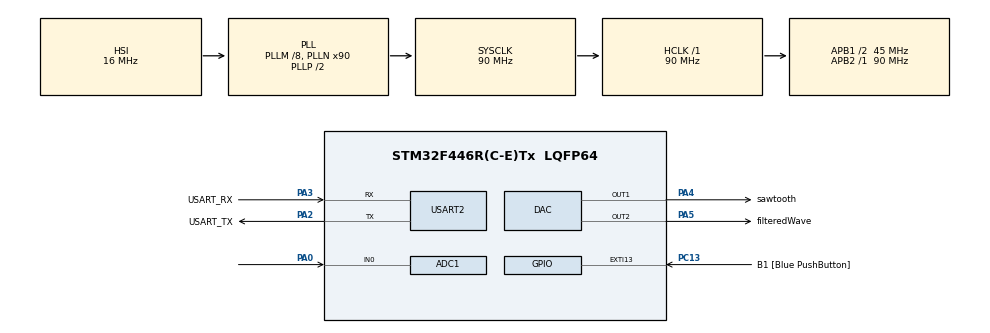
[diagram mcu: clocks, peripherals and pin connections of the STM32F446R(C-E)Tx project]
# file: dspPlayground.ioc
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ADC1.Channel-1\#ChannelRegularConversion=ADC_CHANNEL_0
ADC1.ContinuousConvMode=DISABLE
ADC1.DMAContinuousRequests=ENABLE
ADC1.ExternalTrigConv=ADC_EXTERNALTRIGCONV_T3_TRGO
ADC1.ExternalTrigConvEdge=ADC_EXTERNALTRIGCONVEDGE_RISING
ADC1.NbrOfConversion=1
ADC1.NbrOfConversionFlag=1
ADC1.Rank-1\#ChannelRegularConversion=1
ADC1.Resolution=ADC_RESOLUTION_8B
ADC1.SamplingTime-1\#ChannelRegularConversion=ADC_SAMPLETIME_15CYCLES
ADC1.master=1
DAC.DAC_Trigger=DAC_TRIGGER_NONE
Dma.ADC1.0.Direction=DMA_PERIPH_TO_MEMORY
Dma.ADC1.0.FIFOMode=DMA_FIFOMODE_DISABLE
Dma.ADC1.0.Instance=DMA2_Stream0
Dma.ADC1.0.MemDataAlignment=DMA_MDATAALIGN_BYTE
Dma.ADC1.0.MemInc=DMA_MINC_ENABLE
Dma.ADC1.0.Mode=DMA_CIRCULAR
Dma.ADC1.0.PeriphDataAlignment=DMA_PDATAALIGN_BYTE
Dma.ADC1.0.PeriphInc=DMA_PINC_DISABLE
Dma.ADC1.0.Priority=DMA_PRIORITY_LOW
Dma.Request0=ADC1
Mcu.Family=STM32F4
Mcu.Name=STM32F446R(C-E)Tx
Mcu.Package=LQFP64
NVIC.DMA2_Stream0_IRQn=true\:0\:0\:false\:false\:true\:false\:true\:true
NVIC.PriorityGroup=NVIC_PRIORITYGROUP_0
NVIC.TIM6_DAC_IRQn=true\:0\:0\:false\:false\:true\:true\:true\:true
NVIC.TIM8_UP_TIM13_IRQn=true\:0\:0\:false\:false\:true\:true\:true\:true
PA0-WKUP.Signal=ADCx_IN0
PA13.GPIO_Label=TMS
PA13.Mode=Serial_Wire
PA13.Signal=SYS_JTMS-SWDIO
PA14.GPIO_Label=TCK
PA14.Mode=Serial_Wire
PA14.Signal=SYS_JTCK-SWCLK
PA2.GPIO_Label=USART_TX
PA2.Mode=Asynchronous
PA2.Signal=USART2_TX
PA3.GPIO_Label=USART_RX
PA3.Mode=Asynchronous
PA3.Signal=USART2_RX
PA4.GPIO_Label=sawtooth
PA4.Signal=COMP_DAC1_group
PA5.GPIO_Label=filteredWave
PA5.Signal=COMP_DAC2_group
PB3.GPIO_Label=SWO
PB3.Signal=SYS_JTDO-SWO
PC13.GPIO_Label=B1 [Blue PushButton]
PC13.GPIO_ModeDefaultEXTI=GPIO_MODE_IT_FALLING
PC13.Signal=GPXTI13
PC14-OSC32_IN.Mode=LSE-External-Oscillator
PC14-OSC32_IN.Signal=RCC_OSC32_IN
PC15-OSC32_OUT.Mode=LSE-External-Oscillator
PC15-OSC32_OUT.Signal=RCC_OSC32_OUT
PH0-OSC_IN.Mode=HSE-External-Oscillator
PH0-OSC_IN.Signal=RCC_OSC_IN
PH1-OSC_OUT.Mode=HSE-External-Oscillator
PH1-OSC_OUT.Signal=RCC_OSC_OUT
ProjectManager.HeapSize=0x200
ProjectManager.StackSize=0x400
ProjectManager.TargetToolchain=STM32CubeIDE
RCC.48MHZClocksFreq_Value=84000000
RCC.AHBFreq_Value=90000000
RCC.APB1CLKDivider=RCC_HCLK_DIV2
RCC.APB1Freq_Value=45000000
RCC.APB1TimFreq_Value=90000000
RCC.APB2Freq_Value=90000000
RCC.APB2TimFreq_Value=90000000
RCC.CortexFreq_Value=90000000
RCC.FLatency-AdvancedSettings=FLASH_LATENCY_2
RCC.HCLKFreq_Value=90000000
RCC.HSE_VALUE=8000000
RCC.HSI_VALUE=16000000
RCC.PLLM=8
RCC.PLLN=90
RCC.SYSCLKFreq_VALUE=90000000
RCC.SYSCLKSource=RCC_SYSCLKSOURCE_PLLCLK
RCC.USBFreq_Value=90000000
RCC.VCOOutputFreq_Value=180000000
SH.ADCx_IN0.0=ADC1_IN0,IN0
SH.COMP_DAC1_group.0=DAC_OUT1,DAC_OUT1
SH.COMP_DAC2_group.0=DAC_OUT2,DAC_OUT2
TIM3.Period=(100-1)
TIM3.Prescaler=(45-1)
TIM3.TIM_MasterOutputTrigger=TIM_TRGO_UPDATE
TIM8.AutoReloadPreload=TIM_AUTORELOAD_PRELOAD_DISABLE
TIM8.Period=(17-1)
TIM8.Prescaler=(47-1)
TIM8.TIM_MasterOutputTrigger=TIM_TRGO_RESET
USART2.VirtualMode=VM_ASYNC
VP_TIM3_VS_ClockSourceINT.Mode=Internal
VP_TIM8_VS_ClockSourceINT.Mode=Internal
board=NUCLEO-F446RE

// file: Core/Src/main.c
/* USER CODE BEGIN Header */
/**
  ******************************************************************************
  * @file           : main.c
  * @brief          : Main program body
  ******************************************************************************
  * @attention
  *
  * Copyright (c) 2026 STMicroelectronics.
  * All rights reserved.
  *
  * This software is licensed under terms that can be found in the LICENSE file
  * in the root directory of this software component.
  * If no LICENSE file comes with this software, it is provided AS-IS.
  *
  ******************************************************************************
  */
/* USER CODE END Header */
#include "main.h"

/* USER CODE BEGIN Includes */
#define ARM_MATH_CM4
#include "arm_math.h"
/* USER CODE END Includes */

ADC_HandleTypeDef hadc1;
DMA_HandleTypeDef hdma_adc1;

DAC_HandleTypeDef hdac;

TIM_HandleTypeDef htim3;
TIM_HandleTypeDef htim8;

UART_HandleTypeDef huart2;

/* USER CODE BEGIN PV */
uint8_t sawtooth_value = 0, filteredWave_value = 0;
uint8_t adc_value;

float32_t x_n, y_n;
float32_t stateVariables[8];	//{x[n-1], x[n-2], y[n-1], y[n-2]} for each of the two stages
const float32_t coefficients[10] = {
		//first stage
		0.035606993293472465,	//b0
		-0.059435617389292664,	//b1
		0.03560699329347246,	//b2
		1.8610161687560092,		//a1
		-0.8704695751741188,	//a2
		//second stage
		0.250,					//b0
		-0.48237472261520914,	//b1
		0.25000000000000006,	//b2
		1.9353688387037393,		//a1
		-0.9584840240641256,	//a2
};
arm_biquad_casd_df1_inst_f32 filter;	//filter object. Is a struct that contains numStages, the stateVariables array and the coefficients
/* USER CODE END PV */

void SystemClock_Config(void);
static void MX_GPIO_Init(void);
static void MX_DMA_Init(void);
static void MX_USART2_UART_Init(void);
static void MX_DAC_Init(void);
static void MX_ADC1_Init(void);
static void MX_TIM8_Init(void);
static void MX_TIM3_Init(void);

int main(void)
{

  /* USER CODE BEGIN 1 */
	//initialize the filter as the model (two stages, defined coefficients)
	arm_biquad_cascade_df1_init_f32(&filter, 2, &coefficients, &stateVariables);
  /* USER CODE END 1 */

  /* MCU Configuration--------------------------------------------------------*/

  /* Reset of all peripherals, Initializes the Flash interface and the Systick. */
  HAL_Init();

  /* Configure the system clock */
  SystemClock_Config();

  /* Initialize all configured peripherals */
  MX_GPIO_Init();
  MX_DMA_Init();
  MX_USART2_UART_Init();
  MX_DAC_Init();
  MX_ADC1_Init();
  MX_TIM8_Init();
  MX_TIM3_Init();
  /* USER CODE BEGIN 2 */
  HAL_DAC_Start(&hdac, DAC_CHANNEL_1);	//start sawtooth wave channel (PA4)
  HAL_DAC_Start(&hdac, DAC_CHANNEL_2);	//start filtered wave channel (PA5)

  HAL_ADC_Start_DMA(&hadc1, (uint32_t*)&adc_value, 1);	//start ADC
  HAL_TIM_Base_Start(&htim3);							//start 2kHz ADC trigger timer

  HAL_TIM_Base_Start_IT(&htim8);	//TIM8 triggers a DAC update (sawtooth) at auto reload
  /* USER CODE END 2 */

  /* Infinite loop */
  while (1)
  {

  }
}

void SystemClock_Config(void)
{
  RCC_OscInitTypeDef RCC_OscInitStruct = {0};
  RCC_ClkInitTypeDef RCC_ClkInitStruct = {0};

  /** Configure the main internal regulator output voltage
  */
  __HAL_RCC_PWR_CLK_ENABLE();
  __HAL_PWR_VOLTAGESCALING_CONFIG(PWR_REGULATOR_VOLTAGE_SCALE3);

  /** Initializes the RCC Oscillators according to the specified parameters
  * in the RCC_OscInitTypeDef structure.
  */
  RCC_OscInitStruct.OscillatorType = RCC_OSCILLATORTYPE_HSI;
  RCC_OscInitStruct.HSIState = RCC_HSI_ON;
  RCC_OscInitStruct.HSICalibrationValue = RCC_HSICALIBRATION_DEFAULT;
  RCC_OscInitStruct.PLL.PLLState = RCC_PLL_ON;
  RCC_OscInitStruct.PLL.PLLSource = RCC_PLLSOURCE_HSI;
  RCC_OscInitStruct.PLL.PLLM = 8;
  RCC_OscInitStruct.PLL.PLLN = 90;
  RCC_OscInitStruct.PLL.PLLP = RCC_PLLP_DIV2;
  RCC_OscInitStruct.PLL.PLLQ = 2;
  RCC_OscInitStruct.PLL.PLLR = 2;
  if (HAL_RCC_OscConfig(&RCC_OscInitStruct) != HAL_OK)
  {
    Error_Handler();
  }

  /** Initializes the CPU, AHB and APB buses clocks
  */
  RCC_ClkInitStruct.ClockType = RCC_CLOCKTYPE_HCLK|RCC_CLOCKTYPE_SYSCLK
                              |RCC_CLOCKTYPE_PCLK1|RCC_CLOCKTYPE_PCLK2;
  RCC_ClkInitStruct.SYSCLKSource = RCC_SYSCLKSOURCE_PLLCLK;
  RCC_ClkInitStruct.AHBCLKDivider = RCC_SYSCLK_DIV1;
  RCC_ClkInitStruct.APB1CLKDivider = RCC_HCLK_DIV2;
  RCC_ClkInitStruct.APB2CLKDivider = RCC_HCLK_DIV1;

  if (HAL_RCC_ClockConfig(&RCC_ClkInitStruct, FLASH_LATENCY_2) != HAL_OK)
  {
    Error_Handler();
  }
}

static void MX_ADC1_Init(void)
{

  ADC_ChannelConfTypeDef sConfig = {0};

  /** Configure the global features of the ADC (Clock, Resolution, Data Alignment and number of conversion)
  */
  hadc1.Instance = ADC1;
  hadc1.Init.ClockPrescaler = ADC_CLOCK_SYNC_PCLK_DIV4;
  hadc1.Init.Resolution = ADC_RESOLUTION_8B;
  hadc1.Init.ScanConvMode = DISABLE;
  hadc1.Init.ContinuousConvMode = DISABLE;
  hadc1.Init.DiscontinuousConvMode = DISABLE;
  hadc1.Init.ExternalTrigConvEdge = ADC_EXTERNALTRIGCONVEDGE_RISING;
  hadc1.Init.ExternalTrigConv = ADC_EXTERNALTRIGCONV_T3_TRGO;
  hadc1.Init.DataAlign = ADC_DATAALIGN_RIGHT;
  hadc1.Init.NbrOfConversion = 1;
  hadc1.Init.DMAContinuousRequests = ENABLE;
  hadc1.Init.EOCSelection = ADC_EOC_SINGLE_CONV;
  if (HAL_ADC_Init(&hadc1) != HAL_OK)
  {
    Error_Handler();
  }

  /** Configure for the selected ADC regular channel its corresponding rank in the sequencer and its sample time.
  */
  sConfig.Channel = ADC_CHANNEL_0;
  sConfig.Rank = 1;
  sConfig.SamplingTime = ADC_SAMPLETIME_15CYCLES;
  if (HAL_ADC_ConfigChannel(&hadc1, &sConfig) != HAL_OK)
  {
    Error_Handler();
  }

}

static void MX_DAC_Init(void)
{

  DAC_ChannelConfTypeDef sConfig = {0};

  /** DAC Initialization
  */
  hdac.Instance = DAC;
  if (HAL_DAC_Init(&hdac) != HAL_OK)
  {
    Error_Handler();
  }

  /** DAC channel OUT1 config
  */
  sConfig.DAC_Trigger = DAC_TRIGGER_NONE;
  sConfig.DAC_OutputBuffer = DAC_OUTPUTBUFFER_ENABLE;
  if (HAL_DAC_ConfigChannel(&hdac, &sConfig, DAC_CHANNEL_1) != HAL_OK)
  {
    Error_Handler();
  }

  /** DAC channel OUT2 config
  */
  if (HAL_DAC_ConfigChannel(&hdac, &sConfig, DAC_CHANNEL_2) != HAL_OK)
  {
    Error_Handler();
  }

}

static void MX_TIM3_Init(void)
{

  TIM_ClockConfigTypeDef sClockSourceConfig = {0};
  TIM_MasterConfigTypeDef sMasterConfig = {0};

  htim3.Instance = TIM3;
  htim3.Init.Prescaler = (45-1);
  htim3.Init.CounterMode = TIM_COUNTERMODE_UP;
  htim3.Init.Period = (100-1);
  htim3.Init.ClockDivision = TIM_CLOCKDIVISION_DIV1;
  htim3.Init.AutoReloadPreload = TIM_AUTORELOAD_PRELOAD_DISABLE;
  if (HAL_TIM_Base_Init(&htim3) != HAL_OK)
  {
    Error_Handler();
  }
  sClockSourceConfig.ClockSource = TIM_CLOCKSOURCE_INTERNAL;
  if (HAL_TIM_ConfigClockSource(&htim3, &sClockSourceConfig) != HAL_OK)
  {
    Error_Handler();
  }
  sMasterConfig.MasterOutputTrigger = TIM_TRGO_UPDATE;
  sMasterConfig.MasterSlaveMode = TIM_MASTERSLAVEMODE_DISABLE;
  if (HAL_TIMEx_MasterConfigSynchronization(&htim3, &sMasterConfig) != HAL_OK)
  {
    Error_Handler();
  }

}

static void MX_TIM8_Init(void)
{

  TIM_ClockConfigTypeDef sClockSourceConfig = {0};
  TIM_MasterConfigTypeDef sMasterConfig = {0};

  htim8.Instance = TIM8;
  htim8.Init.Prescaler = (47-1);
  htim8.Init.CounterMode = TIM_COUNTERMODE_UP;
  htim8.Init.Period = (17-1);
  htim8.Init.ClockDivision = TIM_CLOCKDIVISION_DIV1;
  htim8.Init.RepetitionCounter = 0;
  htim8.Init.AutoReloadPreload = TIM_AUTORELOAD_PRELOAD_DISABLE;
  if (HAL_TIM_Base_Init(&htim8) != HAL_OK)
  {
    Error_Handler();
  }
  sClockSourceConfig.ClockSource = TIM_CLOCKSOURCE_INTERNAL;
  if (HAL_TIM_ConfigClockSource(&htim8, &sClockSourceConfig) != HAL_OK)
  {
    Error_Handler();
  }
  sMasterConfig.MasterOutputTrigger = TIM_TRGO_RESET;
  sMasterConfig.MasterSlaveMode = TIM_MASTERSLAVEMODE_DISABLE;
  if (HAL_TIMEx_MasterConfigSynchronization(&htim8, &sMasterConfig) != HAL_OK)
  {
    Error_Handler();
  }

}

static void MX_USART2_UART_Init(void)
{

  huart2.Instance = USART2;
  huart2.Init.BaudRate = 115200;
  huart2.Init.WordLength = UART_WORDLENGTH_8B;
  huart2.Init.StopBits = UART_STOPBITS_1;
  huart2.Init.Parity = UART_PARITY_NONE;
  huart2.Init.Mode = UART_MODE_TX_RX;
  huart2.Init.HwFlowCtl = UART_HWCONTROL_NONE;
  huart2.Init.OverSampling = UART_OVERSAMPLING_16;
  if (HAL_UART_Init(&huart2) != HAL_OK)
  {
    Error_Handler();
  }

}

static void MX_DMA_Init(void)
{

  /* DMA controller clock enable */
  __HAL_RCC_DMA2_CLK_ENABLE();

  /* DMA interrupt init */
  /* DMA2_Stream0_IRQn interrupt configuration */
  HAL_NVIC_SetPriority(DMA2_Stream0_IRQn, 0, 0);
  HAL_NVIC_EnableIRQ(DMA2_Stream0_IRQn);

}

static void MX_GPIO_Init(void)
{
  GPIO_InitTypeDef GPIO_InitStruct = {0};

  /* GPIO Ports Clock Enable */
  __HAL_RCC_GPIOC_CLK_ENABLE();
  __HAL_RCC_GPIOH_CLK_ENABLE();
  __HAL_RCC_GPIOA_CLK_ENABLE();
  __HAL_RCC_GPIOB_CLK_ENABLE();

  /*Configure GPIO pin : B1_Pin */
  GPIO_InitStruct.Pin = B1_Pin;
  GPIO_InitStruct.Mode = GPIO_MODE_IT_FALLING;
  GPIO_InitStruct.Pull = GPIO_NOPULL;
  HAL_GPIO_Init(B1_GPIO_Port, &GPIO_InitStruct);

}

/* USER CODE BEGIN 4 */
void HAL_TIM_PeriodElapsedCallback(TIM_HandleTypeDef *htim){
	//update DAC value at sample rate
	if(htim->Instance == TIM8){
		//at TIM8's sample rate (~112.6kHz), it takes ~2.273ms (440Hz) to cover the DAC's [0; 256] range
		sawtooth_value++;	//as an 8-bit variable, it automatically resets at 256

		HAL_DAC_SetValue(&hdac, DAC_CHANNEL_1, DAC_ALIGN_8B_R, sawtooth_value);	//update sawtooth DAC (CH1) value
	}
}

void HAL_ADC_ConvCpltCallback(ADC_HandleTypeDef *hadc)
{
	//whenever the ADC conversion is done (should be at 2kHz)
	if (hadc->Instance == ADC1)
    {
		//calculate next value of the filter's output (y_n) according to the new measured input sample (x_n),
		//the past values (filter.pState - stateVariables array) and the coefficients (filter.pCoeffs)
		x_n = (float32_t)adc_value;
		arm_biquad_cascade_df1_f32(&filter, &x_n, &y_n, 1);
		filteredWave_value = (uint8_t)y_n;

		HAL_DAC_SetValue(&hdac, DAC_CHANNEL_2, DAC_ALIGN_8B_R, filteredWave_value);	//update filtered wave DAC (CH2) value
    }
}
/* USER CODE END 4 */

void Error_Handler(void)
{
  __disable_irq();
  while (1)
  {
  }
}
